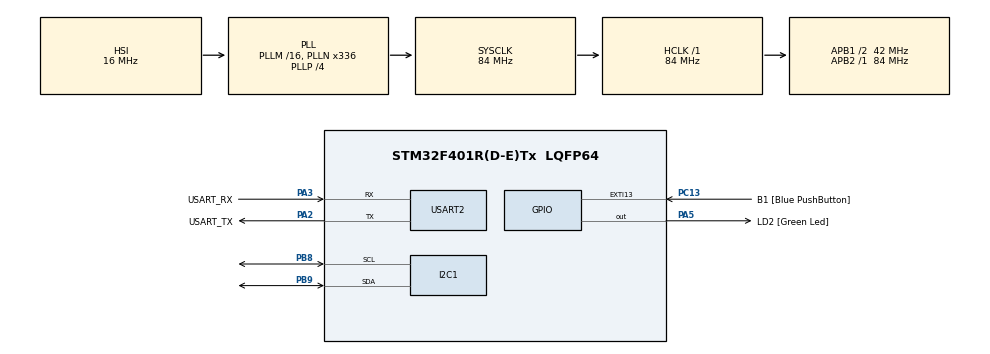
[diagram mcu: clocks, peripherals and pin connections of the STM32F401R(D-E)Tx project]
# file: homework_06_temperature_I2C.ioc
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Mcu.Family=STM32F4
Mcu.Name=STM32F401R(D-E)Tx
Mcu.Package=LQFP64
NVIC.I2C1_EV_IRQn=true\:0\:0\:false\:false\:true\:true\:true\:true
NVIC.PriorityGroup=NVIC_PRIORITYGROUP_0
NVIC.TIM1_UP_TIM10_IRQn=true\:0\:0\:false\:false\:true\:true\:true\:true
PA13.GPIO_Label=TMS
PA13.Mode=Serial_Wire
PA13.Signal=SYS_JTMS-SWDIO
PA14.GPIO_Label=TCK
PA14.Mode=Serial_Wire
PA14.Signal=SYS_JTCK-SWCLK
PA2.GPIO_Label=USART_TX
PA2.GPIO_Mode=GPIO_MODE_AF_PP
PA2.GPIO_PuPd=GPIO_NOPULL
PA2.GPIO_Speed=GPIO_SPEED_FREQ_LOW
PA2.Mode=Asynchronous
PA2.Signal=USART2_TX
PA3.GPIO_Label=USART_RX
PA3.GPIO_Mode=GPIO_MODE_AF_PP
PA3.GPIO_PuPd=GPIO_NOPULL
PA3.GPIO_Speed=GPIO_SPEED_FREQ_LOW
PA3.Mode=Asynchronous
PA3.Signal=USART2_RX
PA5.GPIO_Label=LD2 [Green Led]
PA5.GPIO_Mode=GPIO_MODE_OUTPUT_PP
PA5.GPIO_PuPd=GPIO_NOPULL
PA5.GPIO_Speed=GPIO_SPEED_FREQ_LOW
PA5.Signal=GPIO_Output
PB3.GPIO_Label=SWO
PB3.Signal=SYS_JTDO-SWO
PB8.Mode=I2C
PB8.Signal=I2C1_SCL
PB9.Mode=I2C
PB9.Signal=I2C1_SDA
PC13-ANTI_TAMP.GPIO_Label=B1 [Blue PushButton]
PC13-ANTI_TAMP.GPIO_ModeDefaultEXTI=GPIO_MODE_IT_FALLING
PC13-ANTI_TAMP.GPIO_PuPd=GPIO_NOPULL
PC13-ANTI_TAMP.Signal=GPXTI13
PC14-OSC32_IN.Mode=LSE-External-Oscillator
PC14-OSC32_IN.Signal=RCC_OSC32_IN
PC15-OSC32_OUT.Mode=LSE-External-Oscillator
PC15-OSC32_OUT.Signal=RCC_OSC32_OUT
PH0\ -\ OSC_IN.Mode=HSE-External-Clock-Source
PH0\ -\ OSC_IN.Signal=RCC_OSC_IN
PH1\ -\ OSC_OUT.Mode=HSE-External-Clock-Source
PH1\ -\ OSC_OUT.Signal=RCC_OSC_OUT
ProjectManager.HeapSize=0x200
ProjectManager.StackSize=0x400
ProjectManager.TargetToolchain=STM32CubeIDE
RCC.48MHZClocksFreq_Value=48000000
RCC.AHBFreq_Value=84000000
RCC.APB1CLKDivider=RCC_HCLK_DIV2
RCC.APB1Freq_Value=42000000
RCC.APB1TimFreq_Value=84000000
RCC.APB2Freq_Value=84000000
RCC.APB2TimFreq_Value=84000000
RCC.CortexFreq_Value=84000000
RCC.HCLKFreq_Value=84000000
RCC.HSE_VALUE=8000000
RCC.HSI_VALUE=16000000
RCC.PLLN=336
RCC.PLLP=RCC_PLLP_DIV4
RCC.PLLQ=7
RCC.SYSCLKFreq_VALUE=84000000
RCC.SYSCLKSource=RCC_SYSCLKSOURCE_PLLCLK
RCC.VCOOutputFreq_Value=336000000
TIM1.Period=10000-1
TIM1.Prescaler=8400-1
USART2.VirtualMode=VM_ASYNC
VP_TIM1_VS_ClockSourceINT.Mode=Internal
board=NUCLEO-F401RE

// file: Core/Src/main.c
/* USER CODE BEGIN Header */
/**
  ******************************************************************************
  * @file           : main.c
  * @brief          : Main program body
  ******************************************************************************
  * @attention
  *
  * Copyright (c) 2023 STMicroelectronics.
  * All rights reserved.
  *
  * This software is licensed under terms that can be found in the LICENSE file
  * in the root directory of this software component.
  * If no LICENSE file comes with this software, it is provided AS-IS.
  *
  ******************************************************************************
  */
/* USER CODE END Header */
#include "main.h"

/* USER CODE BEGIN PD */
#define LM75_TRANSMIT 0x90	// 0b10010000
#define LM75_RECEIVE 0x91	// 0b10010001
/* USER CODE END PD */

I2C_HandleTypeDef hi2c1;

TIM_HandleTypeDef htim1;

UART_HandleTypeDef huart2;

/* USER CODE BEGIN PV */
uint8_t pointer_reg = 0x00;
uint16_t data;
unsigned char message[24];
int length = 0;
/* USER CODE END PV */

void SystemClock_Config(void);
static void MX_GPIO_Init(void);
static void MX_USART2_UART_Init(void);
static void MX_I2C1_Init(void);
static void MX_TIM1_Init(void);
/* USER CODE BEGIN PFP */
void HAL_I2C_MasterRxCpltCallback(I2C_HandleTypeDef *hi2c) {
	if(hi2c != &hi2c1) return;

	uint8_t integer_part = data & 0x00FF; // take the last 8 bits
	uint8_t decimal_part = (data & 0x8000) >> (8+7); // take the first bit
	float temp = (float)integer_part + 0.5*(float)decimal_part;

	length = snprintf(message, 64, "Temp: %.3f\r\n", temp);
	HAL_UART_Transmit(&huart2, message, length, 100);
}

void HAL_TIM_PeriodElapsedCallback(TIM_HandleTypeDef *htim) {
	if(htim != &htim1) return;

	HAL_I2C_Master_Receive_IT(&hi2c1, LM75_RECEIVE, &data, 2);
}
/* USER CODE END PFP */

int main(void)
{

  /* MCU Configuration--------------------------------------------------------*/

  /* Reset of all peripherals, Initializes the Flash interface and the Systick. */
  HAL_Init();

  /* Configure the system clock */
  SystemClock_Config();

  /* Initialize all configured peripherals */
  MX_GPIO_Init();
  MX_USART2_UART_Init();
  MX_I2C1_Init();
  MX_TIM1_Init();
  /* USER CODE BEGIN 2 */
  // master transmit to set 00
  if(HAL_I2C_Master_Transmit(&hi2c1, LM75_TRANSMIT, &pointer_reg, 1, 100) != HAL_OK) return 0;

  HAL_TIM_Base_Start_IT(&htim1);

  /* USER CODE END 2 */

  /* Infinite loop */
  while (1)
  {

  }
}

void SystemClock_Config(void)
{
  RCC_OscInitTypeDef RCC_OscInitStruct = {0};
  RCC_ClkInitTypeDef RCC_ClkInitStruct = {0};

  /** Configure the main internal regulator output voltage
  */
  __HAL_RCC_PWR_CLK_ENABLE();
  __HAL_PWR_VOLTAGESCALING_CONFIG(PWR_REGULATOR_VOLTAGE_SCALE2);

  /** Initializes the RCC Oscillators according to the specified parameters
  * in the RCC_OscInitTypeDef structure.
  */
  RCC_OscInitStruct.OscillatorType = RCC_OSCILLATORTYPE_HSI;
  RCC_OscInitStruct.HSIState = RCC_HSI_ON;
  RCC_OscInitStruct.HSICalibrationValue = RCC_HSICALIBRATION_DEFAULT;
  RCC_OscInitStruct.PLL.PLLState = RCC_PLL_ON;
  RCC_OscInitStruct.PLL.PLLSource = RCC_PLLSOURCE_HSI;
  RCC_OscInitStruct.PLL.PLLM = 16;
  RCC_OscInitStruct.PLL.PLLN = 336;
  RCC_OscInitStruct.PLL.PLLP = RCC_PLLP_DIV4;
  RCC_OscInitStruct.PLL.PLLQ = 7;
  if (HAL_RCC_OscConfig(&RCC_OscInitStruct) != HAL_OK)
  {
    Error_Handler();
  }

  /** Initializes the CPU, AHB and APB buses clocks
  */
  RCC_ClkInitStruct.ClockType = RCC_CLOCKTYPE_HCLK|RCC_CLOCKTYPE_SYSCLK
                              |RCC_CLOCKTYPE_PCLK1|RCC_CLOCKTYPE_PCLK2;
  RCC_ClkInitStruct.SYSCLKSource = RCC_SYSCLKSOURCE_PLLCLK;
  RCC_ClkInitStruct.AHBCLKDivider = RCC_SYSCLK_DIV1;
  RCC_ClkInitStruct.APB1CLKDivider = RCC_HCLK_DIV2;
  RCC_ClkInitStruct.APB2CLKDivider = RCC_HCLK_DIV1;

  if (HAL_RCC_ClockConfig(&RCC_ClkInitStruct, FLASH_LATENCY_2) != HAL_OK)
  {
    Error_Handler();
  }
}

static void MX_I2C1_Init(void)
{

  hi2c1.Instance = I2C1;
  hi2c1.Init.ClockSpeed = 100000;
  hi2c1.Init.DutyCycle = I2C_DUTYCYCLE_2;
  hi2c1.Init.OwnAddress1 = 0;
  hi2c1.Init.AddressingMode = I2C_ADDRESSINGMODE_7BIT;
  hi2c1.Init.DualAddressMode = I2C_DUALADDRESS_DISABLE;
  hi2c1.Init.OwnAddress2 = 0;
  hi2c1.Init.GeneralCallMode = I2C_GENERALCALL_DISABLE;
  hi2c1.Init.NoStretchMode = I2C_NOSTRETCH_DISABLE;
  if (HAL_I2C_Init(&hi2c1) != HAL_OK)
  {
    Error_Handler();
  }

}

static void MX_TIM1_Init(void)
{

  TIM_ClockConfigTypeDef sClockSourceConfig = {0};
  TIM_MasterConfigTypeDef sMasterConfig = {0};

  htim1.Instance = TIM1;
  htim1.Init.Prescaler = 8400-1;
  htim1.Init.CounterMode = TIM_COUNTERMODE_UP;
  htim1.Init.Period = 10000-1;
  htim1.Init.ClockDivision = TIM_CLOCKDIVISION_DIV1;
  htim1.Init.RepetitionCounter = 0;
  htim1.Init.AutoReloadPreload = TIM_AUTORELOAD_PRELOAD_DISABLE;
  if (HAL_TIM_Base_Init(&htim1) != HAL_OK)
  {
    Error_Handler();
  }
  sClockSourceConfig.ClockSource = TIM_CLOCKSOURCE_INTERNAL;
  if (HAL_TIM_ConfigClockSource(&htim1, &sClockSourceConfig) != HAL_OK)
  {
    Error_Handler();
  }
  sMasterConfig.MasterOutputTrigger = TIM_TRGO_RESET;
  sMasterConfig.MasterSlaveMode = TIM_MASTERSLAVEMODE_DISABLE;
  if (HAL_TIMEx_MasterConfigSynchronization(&htim1, &sMasterConfig) != HAL_OK)
  {
    Error_Handler();
  }

}

static void MX_USART2_UART_Init(void)
{

  huart2.Instance = USART2;
  huart2.Init.BaudRate = 115200;
  huart2.Init.WordLength = UART_WORDLENGTH_8B;
  huart2.Init.StopBits = UART_STOPBITS_1;
  huart2.Init.Parity = UART_PARITY_NONE;
  huart2.Init.Mode = UART_MODE_TX_RX;
  huart2.Init.HwFlowCtl = UART_HWCONTROL_NONE;
  huart2.Init.OverSampling = UART_OVERSAMPLING_16;
  if (HAL_UART_Init(&huart2) != HAL_OK)
  {
    Error_Handler();
  }

}

static void MX_GPIO_Init(void)
{
  GPIO_InitTypeDef GPIO_InitStruct = {0};

  /* GPIO Ports Clock Enable */
  __HAL_RCC_GPIOC_CLK_ENABLE();
  __HAL_RCC_GPIOH_CLK_ENABLE();
  __HAL_RCC_GPIOA_CLK_ENABLE();
  __HAL_RCC_GPIOB_CLK_ENABLE();

  /*Configure GPIO pin Output Level */
  HAL_GPIO_WritePin(LD2_GPIO_Port, LD2_Pin, GPIO_PIN_RESET);

  /*Configure GPIO pin : B1_Pin */
  GPIO_InitStruct.Pin = B1_Pin;
  GPIO_InitStruct.Mode = GPIO_MODE_IT_FALLING;
  GPIO_InitStruct.Pull = GPIO_NOPULL;
  HAL_GPIO_Init(B1_GPIO_Port, &GPIO_InitStruct);

  /*Configure GPIO pin : LD2_Pin */
  GPIO_InitStruct.Pin = LD2_Pin;
  GPIO_InitStruct.Mode = GPIO_MODE_OUTPUT_PP;
  GPIO_InitStruct.Pull = GPIO_NOPULL;
  GPIO_InitStruct.Speed = GPIO_SPEED_FREQ_LOW;
  HAL_GPIO_Init(LD2_GPIO_Port, &GPIO_InitStruct);

}

void Error_Handler(void)
{
  __disable_irq();
  while (1)
  {
  }
}
